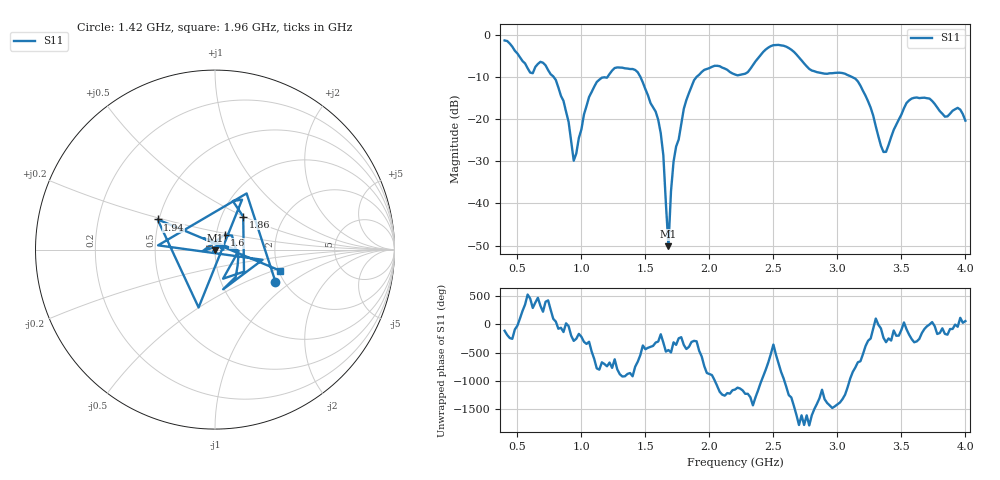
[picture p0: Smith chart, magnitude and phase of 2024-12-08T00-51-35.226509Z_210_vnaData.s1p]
!Created with skrf (http://scikit-rf.org).
# Hz S RI R 50.0
!freq ReS11 ImS11
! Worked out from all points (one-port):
!   181 points, 400 MHz to 4 GHz, reference 50 ohm
!   lowest |S11| = -50.1 dB at 1.68 GHz (marker M1), VSWR 1.01, Z = 50 - j0.311 ohm
!   |S11| at or under -10 dB: 782.6 MHz to 1.204 GHz (421.8 MHz wide, 42.5 % of centre); 1.461 GHz to 1.9 GHz (439.3 MHz wide, 26.1 % of centre); 3.112 GHz to end of sweep
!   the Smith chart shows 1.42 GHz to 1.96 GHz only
!   S11 on the Smith chart (normalised r, x): 1.42 GHz: 1.81, -0.76; 1.6 GHz: 1.10, +0.18; 1.86 GHz: 1.26, +0.49; 1.94 GHz: 0.49, +0.19; 1.96 GHz: 2.04, -0.56
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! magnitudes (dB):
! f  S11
! 400 MHz  -1.4
! 600 MHz  -9.0
! 720 MHz  -7.3
! 860 MHz  -15.7
! 940 MHz  -29.9
! 1.06 GHz  -14.8
! 1.3 GHz  -7.8
! 1.42 GHz  -8.4
! 1.6 GHz  -20.2
! 1.64 GHz  -28.5
! 1.68 GHz  -50.1
! 1.7 GHz  -37.1
! 1.72 GHz  -30.1
! 1.76 GHz  -24.9
! 1.86 GHz  -12.3
! 1.94 GHz  -8.8
! 1.96 GHz  -8.3
! 2.2 GHz  -9.4
! 2.48 GHz  -2.7
! 2.66 GHz  -4.1
! 2.8 GHz  -8.5
! 3.1 GHz  -9.8
! 3.24 GHz  -15.8
! 3.36 GHz  -27.8
! 3.56 GHz  -15.6
! 3.84 GHz  -19.4
! 3.94 GHz  -17.3
! 4 GHz  -20.4
